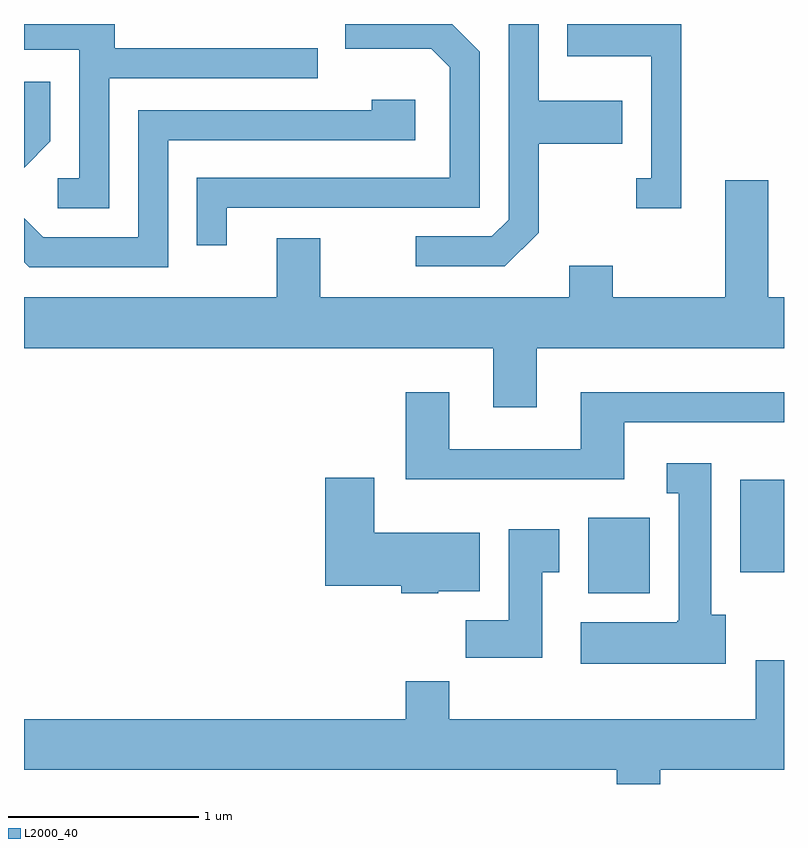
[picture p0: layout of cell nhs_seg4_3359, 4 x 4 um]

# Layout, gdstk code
import gdstk
lib = gdstk.Library(unit=1e-6, precision=1e-09)
def R(c, l, rs):  # rectangles x0, y0, x1, y1
    for r in rs: c.add(gdstk.rectangle(r[:2], r[2:], *l))
def P(c, l, *ps):  # polygons
    for p in ps: c.add(gdstk.Polygon(p, *l))
L2000_40 = (2000, 40)

nhs_seg4_3359 = lib.new_cell('nhs_seg4_3359')
R(nhs_seg4_3359, L2000_40, [(286.581,1308.986,286.904,1309.384), (287.381,1309.096,287.611,1309.584)])
P(nhs_seg4_3359, L2000_40, [(287.069,1311.982),(286.471,1311.982),(286.471,1311.811),(286.911,1311.811),(286.911,1311.169),(286.833,1311.169),(286.833,1311.011),(287.069,1311.011)],
  [(286.319,1310.884),(286.319,1311.351),(286.759,1311.351),(286.759,1311.579),(286.319,1311.579),(286.319,1311.982),(286.161,1311.982),(286.161,1310.952),(286.074,1310.864),(285.673,1310.864),(285.673,1310.706),(286.142,1310.706)],
  [(284.059,1311.696),(285.158,1311.696),(285.158,1311.854),(284.089,1311.854),(284.089,1311.982),(283.611,1311.982),(283.611,1311.846),(283.901,1311.846),(283.901,1311.169),(283.788,1311.169),(283.788,1311.011),(284.059,1311.011)],
  [(284.679,1311.016),(286.009,1311.016),(286.009,1311.837),(285.864,1311.982),(285.301,1311.982),(285.301,1311.851),(285.754,1311.851),(285.851,1311.754),(285.851,1311.174),(284.521,1311.174),(284.521,1310.818),(284.679,1310.818)],
  [(283.749,1311.364),(283.749,1311.678),(283.611,1311.678),(283.611,1311.225)],
  [(284.369,1311.371),(285.669,1311.371),(285.669,1311.584),(285.441,1311.584),(285.441,1311.529),(284.211,1311.529),(284.211,1310.859),(283.712,1310.859),(283.611,1310.96),(283.611,1310.729),(283.639,1310.701),(284.369,1310.701)],
  [(286.309,1310.276),(287.611,1310.276),(287.611,1310.544),(287.529,1310.544),(287.529,1311.159),(287.301,1311.159),(287.301,1310.544),(286.709,1310.544),(286.709,1310.709),(286.481,1310.709),(286.481,1310.544),(285.169,1310.544),(285.169,1310.854),(284.941,1310.854),(284.941,1310.544),(283.611,1310.544),(283.611,1310.276),(286.081,1310.276),(286.081,1309.966),(286.309,1309.966)],
  [(286.769,1309.886),(287.611,1309.886),(287.611,1310.044),(286.541,1310.044),(286.541,1309.744),(285.849,1309.744),(285.849,1310.044),(285.621,1310.044),(285.621,1309.586),(286.769,1309.586)],
  [(287.304,1308.874),(287.229,1308.874),(287.229,1309.669),(286.993,1309.669),(286.993,1309.511),(287.056,1309.511),(287.056,1308.84),(287.05,1308.84),(287.05,1308.834),(286.541,1308.834),(286.541,1308.616),(287.304,1308.616)],
  [(285.79,1308.996),(286.009,1308.996),(286.009,1309.304),(285.454,1309.304),(285.454,1309.594),(285.196,1309.594),(285.196,1309.026),(285.596,1309.026),(285.596,1308.986),(285.79,1308.986)],
  [(286.339,1309.096),(286.429,1309.096),(286.429,1309.324),(286.161,1309.324),(286.161,1308.844),(285.936,1308.844),(285.936,1308.646),(286.339,1308.646)],
  [(286.959,1308.056),(287.611,1308.056),(287.611,1308.634),(287.461,1308.634),(287.461,1308.324),(285.849,1308.324),(285.849,1308.524),(285.621,1308.524),(285.621,1308.324),(283.611,1308.324),(283.611,1308.056),(286.731,1308.056),(286.731,1307.982),(286.959,1307.982)])

lib.write_gds('nhs_seg4_3359.gds')
